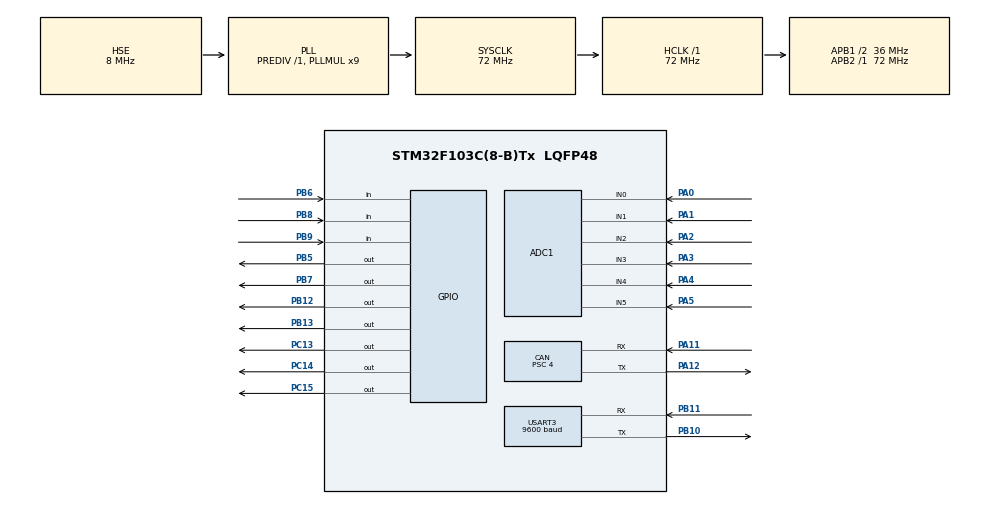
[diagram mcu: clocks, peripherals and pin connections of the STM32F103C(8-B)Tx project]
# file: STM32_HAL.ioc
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ADC1.Channel-0\#ChannelRegularConversion=ADC_CHANNEL_0
ADC1.Channel-1\#ChannelRegularConversion=ADC_CHANNEL_1
ADC1.Channel-2\#ChannelRegularConversion=ADC_CHANNEL_2
ADC1.Channel-3\#ChannelRegularConversion=ADC_CHANNEL_3
ADC1.Channel-4\#ChannelRegularConversion=ADC_CHANNEL_4
ADC1.Channel-5\#ChannelRegularConversion=ADC_CHANNEL_5
ADC1.ContinuousConvMode=ENABLE
ADC1.DataAlign=ADC_DATAALIGN_RIGHT
ADC1.NbrOfConversion=6
ADC1.NbrOfConversionFlag=1
ADC1.Rank-0\#ChannelRegularConversion=1
ADC1.Rank-1\#ChannelRegularConversion=2
ADC1.Rank-2\#ChannelRegularConversion=3
ADC1.Rank-3\#ChannelRegularConversion=4
ADC1.Rank-4\#ChannelRegularConversion=5
ADC1.Rank-5\#ChannelRegularConversion=6
ADC1.SamplingTime-0\#ChannelRegularConversion=ADC_SAMPLETIME_55CYCLES_5
ADC1.SamplingTime-1\#ChannelRegularConversion=ADC_SAMPLETIME_55CYCLES_5
ADC1.SamplingTime-2\#ChannelRegularConversion=ADC_SAMPLETIME_55CYCLES_5
ADC1.SamplingTime-3\#ChannelRegularConversion=ADC_SAMPLETIME_55CYCLES_5
ADC1.SamplingTime-4\#ChannelRegularConversion=ADC_SAMPLETIME_55CYCLES_5
ADC1.SamplingTime-5\#ChannelRegularConversion=ADC_SAMPLETIME_55CYCLES_5
ADC1.master=1
CAN.ABOM=ENABLE
CAN.AWUM=ENABLE
CAN.BS1=CAN_BS1_9TQ
CAN.BS2=CAN_BS2_8TQ
CAN.CalculateBaudRate=500000
CAN.CalculateTimeBit=2000
CAN.CalculateTimeQuantum=111.11111111111111
CAN.Prescaler=4
Dma.ADC1.0.Direction=DMA_PERIPH_TO_MEMORY
Dma.ADC1.0.Instance=DMA1_Channel1
Dma.ADC1.0.MemDataAlignment=DMA_MDATAALIGN_HALFWORD
Dma.ADC1.0.MemInc=DMA_MINC_ENABLE
Dma.ADC1.0.Mode=DMA_CIRCULAR
Dma.ADC1.0.PeriphDataAlignment=DMA_PDATAALIGN_HALFWORD
Dma.ADC1.0.PeriphInc=DMA_PINC_DISABLE
Dma.ADC1.0.Priority=DMA_PRIORITY_HIGH
Dma.Request0=ADC1
Mcu.Family=STM32F1
Mcu.Name=STM32F103C(8-B)Tx
Mcu.Package=LQFP48
NVIC.ADC1_2_IRQn=true\:2\:0\:true\:false\:true\:true\:true\:true
NVIC.DMA1_Channel1_IRQn=true\:0\:0\:false\:false\:true\:false\:true\:true
NVIC.PriorityGroup=NVIC_PRIORITYGROUP_2
NVIC.TIM2_IRQn=true\:1\:1\:true\:false\:true\:true\:true\:true
NVIC.USART3_IRQn=true\:0\:0\:false\:false\:true\:true\:true\:true
NVIC.USB_LP_CAN1_RX0_IRQn=true\:1\:2\:true\:false\:true\:true\:true\:true
PA0-WKUP.Signal=ADCx_IN0
PA1.Signal=ADCx_IN1
PA11.Mode=CAN_Activate
PA11.Signal=CAN_RX
PA12.Mode=CAN_Activate
PA12.Signal=CAN_TX
PA13.Mode=Serial_Wire
PA13.Signal=SYS_JTMS-SWDIO
PA14.Mode=Serial_Wire
PA14.Signal=SYS_JTCK-SWCLK
PA2.Signal=ADCx_IN2
PA3.Signal=ADCx_IN3
PA4.Signal=ADCx_IN4
PA5.Signal=ADCx_IN5
PB10.Mode=Asynchronous
PB10.Signal=USART3_TX
PB11.Mode=Asynchronous
PB11.Signal=USART3_RX
PB12.GPIO_Speed=GPIO_SPEED_FREQ_HIGH
PB12.PinState=GPIO_PIN_SET
PB12.Signal=GPIO_Output
PB13.PinState=GPIO_PIN_SET
PB13.Signal=GPIO_Output
PB5.GPIO_Speed=GPIO_SPEED_FREQ_HIGH
PB5.PinState=GPIO_PIN_SET
PB5.Signal=GPIO_Output
PB6.Signal=GPIO_Input
PB7.GPIO_Speed=GPIO_SPEED_FREQ_HIGH
PB7.PinState=GPIO_PIN_SET
PB7.Signal=GPIO_Output
PB8.Signal=GPIO_Input
PB9.Signal=GPIO_Input
PC13-TAMPER-RTC.GPIO_Speed=GPIO_SPEED_FREQ_HIGH
PC13-TAMPER-RTC.PinState=GPIO_PIN_SET
PC13-TAMPER-RTC.Signal=GPIO_Output
PC14-OSC32_IN.GPIO_Speed=GPIO_SPEED_FREQ_HIGH
PC14-OSC32_IN.Signal=GPIO_Output
PC15-OSC32_OUT.Signal=GPIO_Output
PD0-OSC_IN.Mode=HSE-External-Oscillator
PD0-OSC_IN.Signal=RCC_OSC_IN
PD1-OSC_OUT.Mode=HSE-External-Oscillator
PD1-OSC_OUT.Signal=RCC_OSC_OUT
ProjectManager.HeapSize=0x200
ProjectManager.StackSize=0x400
ProjectManager.TargetToolchain=STM32CubeIDE
RCC.ADCPresc=RCC_ADCPCLK2_DIV6
RCC.AHBFreq_Value=72000000
RCC.APB1CLKDivider=RCC_HCLK_DIV2
RCC.APB1Freq_Value=36000000
RCC.APB1TimFreq_Value=72000000
RCC.APB2Freq_Value=72000000
RCC.APB2TimFreq_Value=72000000
RCC.HCLKFreq_Value=72000000
RCC.PLLMUL=RCC_PLL_MUL9
RCC.PLLSourceVirtual=RCC_PLLSOURCE_HSE
RCC.SYSCLKFreq_VALUE=72000000
RCC.SYSCLKSource=RCC_SYSCLKSOURCE_PLLCLK
RCC.USBFreq_Value=72000000
SH.ADCx_IN0.0=ADC1_IN0,IN0
SH.ADCx_IN1.0=ADC1_IN1,IN1
SH.ADCx_IN2.0=ADC1_IN2,IN2
SH.ADCx_IN3.0=ADC1_IN3,IN3
SH.ADCx_IN4.0=ADC1_IN4,IN4
SH.ADCx_IN5.0=ADC1_IN5,IN5
TIM2.AutoReloadPreload=TIM_AUTORELOAD_PRELOAD_ENABLE
TIM2.Period=499
TIM2.Prescaler=7199
USART3.BaudRate=9600
USART3.VirtualMode=VM_ASYNC
VP_TIM2_VS_ClockSourceINT.Mode=Internal
board=custom

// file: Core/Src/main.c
/* USER CODE BEGIN Header */
/**
  ******************************************************************************
  * @file           : main.c
  * @brief          : Main program body
  ******************************************************************************
  * @attention
  *
  * Copyright (c) 2022 STMicroelectronics.
  * All rights reserved.
  *
  * This software is licensed under terms that can be found in the LICENSE file
  * in the root directory of this software component.
  * If no LICENSE file comes with this software, it is provided AS-IS.
  *
  ******************************************************************************
  */
/* USER CODE END Header */
#include "main.h"
#include "adc.h"
#include "can.h"
#include "dma.h"
#include "tim.h"
#include "usart.h"
#include "gpio.h"

/* USER CODE BEGIN Includes */
#include "ebs.h"
#include "stdio.h"
#include "usart.h"
/* USER CODE END Includes */

/* USER CODE BEGIN PV */
uint16_t adc1_val_buf[ADC1_CHANNEL_CNT * ADC1_CHANNEL_FRE]; // 传�?�给DMA存放多�?�道采样值的数组
uint32_t adc1_ave_val[ADC1_CHANNEL_CNT] = {0};              // 计算多�?�道的平均采样�?�的过程数组
uint16_t value[ADC1_CHANNEL_CNT] = {0};                     // 多�?�道的平均采样�?�的数组
uint32_t OIL_Max = 0;
uint32_t OIL_Min = 0;
uint32_t AIR_Max = 0;
uint32_t AIR_Min = 0;
int32_t air_e_max1 = 0;
int32_t air_e_max2 = 0;
uint32_t AIR_BRAKE_MIN = 0;
uint32_t OIL_BRAKE_MIN = 0;
uint32_t OIL_Release_Max = 0;
int air_temp[5];
/* USER CODE END PV */

void SystemClock_Config(void);

int main(void)
{

  /* MCU Configuration--------------------------------------------------------*/

  /* Reset of all peripherals, Initializes the Flash interface and the Systick. */
  HAL_Init();

  /* Configure the system clock */
  SystemClock_Config();

  /* Initialize all configured peripherals */
  MX_GPIO_Init();
  MX_DMA_Init();
  MX_ADC1_Init();
  MX_CAN_Init();
  MX_USART3_UART_Init();
  MX_TIM2_Init();
  /* USER CODE BEGIN 2 */
  GPIO_Set_Init();
  HAL_ADCEx_Calibration_Start(&hadc1);//初始校准

  CAN_Filter_Init();
  if (HAL_CAN_Start(&hcan) != HAL_OK) Error_Handler();
  if (HAL_CAN_ActivateNotification(&hcan, CAN_IT_RX_FIFO0_MSG_PENDING) != HAL_OK) Error_Handler();
  HAL_Delay(500);
  if (HAL_TIM_Base_Start_IT(&htim2) != HAL_OK) Error_Handler();
#ifndef EBS_TEST
  circuit_check();
#endif
  u3_printf("MAINWIHLE START\r\n");
  /* USER CODE END 2 */

  /* Infinite loop */
  /* USER CODE BEGIN WHILE */
  while (1)
  {
	  if (pre_AS_state >= AS_HV && pre_AS_state != AS_Finished && HAL_GPIO_ReadPin(SDC_AS_PORT, SDC_AS_PIN) == GPIO_PIN_RESET) ebs_emergency();
	  else if (pre_AS_state >= AS_HV && EBS_error) ebs_emergency();
#ifndef EBS_TEST
	  EBS_FSM();
#endif
#ifdef EBS_TEST
	  if (pre_AS_state != AS_Emergency && new_state != 0xFF) {
		  if ((new_state >= AS_HV && ASMS == 1) || new_state < AS_HV)
			  pre_AS_state = new_state;
		  new_state = 0xFF;
		  EBS_FSM_Event(pre_AS_state);
	  }
#endif
	  if (code_flag & CAN_0X002_SEND_CODE) { // 5hz
		  CAN_Send_Msg(0x2, 0, 4); // 0000 000 0010
		  code_flag &= ~CAN_0X002_SEND_CODE;
	  }
	  if (code_flag & CAN_0X482_SEND_CODE) { // 20hz
	  	  CAN_Send_Msg(0x482, 0, 4); // 100 1000 0010
	  	  code_flag &= ~CAN_0X482_SEND_CODE;
  	  }
	  if (code_flag& CAN_0X402_SEND_CODE) { // 20hz
		  CAN_Send_Msg(0x402, 0, 8); // 100 0000 0010
		  code_flag &= ~CAN_0X402_SEND_CODE;
	  }
    /* USER CODE END WHILE */

  }
}

void SystemClock_Config(void)
{
  RCC_OscInitTypeDef RCC_OscInitStruct = {0};
  RCC_ClkInitTypeDef RCC_ClkInitStruct = {0};
  RCC_PeriphCLKInitTypeDef PeriphClkInit = {0};

  /** Initializes the RCC Oscillators according to the specified parameters
  * in the RCC_OscInitTypeDef structure.
  */
  RCC_OscInitStruct.OscillatorType = RCC_OSCILLATORTYPE_HSE;
  RCC_OscInitStruct.HSEState = RCC_HSE_ON;
  RCC_OscInitStruct.HSEPredivValue = RCC_HSE_PREDIV_DIV1;
  RCC_OscInitStruct.HSIState = RCC_HSI_ON;
  RCC_OscInitStruct.PLL.PLLState = RCC_PLL_ON;
  RCC_OscInitStruct.PLL.PLLSource = RCC_PLLSOURCE_HSE;
  RCC_OscInitStruct.PLL.PLLMUL = RCC_PLL_MUL9;
  if (HAL_RCC_OscConfig(&RCC_OscInitStruct) != HAL_OK)
  {
    Error_Handler();
  }

  /** Initializes the CPU, AHB and APB buses clocks
  */
  RCC_ClkInitStruct.ClockType = RCC_CLOCKTYPE_HCLK|RCC_CLOCKTYPE_SYSCLK
                              |RCC_CLOCKTYPE_PCLK1|RCC_CLOCKTYPE_PCLK2;
  RCC_ClkInitStruct.SYSCLKSource = RCC_SYSCLKSOURCE_PLLCLK;
  RCC_ClkInitStruct.AHBCLKDivider = RCC_SYSCLK_DIV1;
  RCC_ClkInitStruct.APB1CLKDivider = RCC_HCLK_DIV2;
  RCC_ClkInitStruct.APB2CLKDivider = RCC_HCLK_DIV1;

  if (HAL_RCC_ClockConfig(&RCC_ClkInitStruct, FLASH_LATENCY_2) != HAL_OK)
  {
    Error_Handler();
  }
  PeriphClkInit.PeriphClockSelection = RCC_PERIPHCLK_ADC;
  PeriphClkInit.AdcClockSelection = RCC_ADCPCLK2_DIV6;
  if (HAL_RCCEx_PeriphCLKConfig(&PeriphClkInit) != HAL_OK)
  {
    Error_Handler();
  }
}

void Error_Handler(void)
{
  /* USER CODE BEGIN Error_Handler_Debug */
  /* User can add his own implementation to report the HAL error return state */
	HAL_UART_Transmit(&huart3, (uint8_t*)"1", 1, 0);
  __disable_irq();
  while (1)
  {
  }
  /* USER CODE END Error_Handler_Debug */
}
